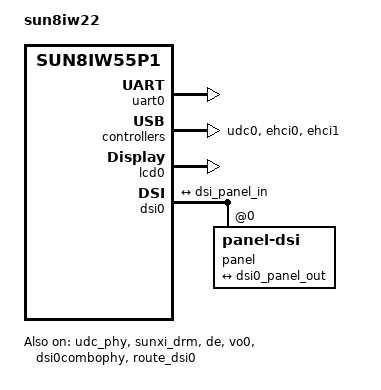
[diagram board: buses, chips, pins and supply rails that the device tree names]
// SPDX-License-Identifier: (GPL-2.0+ or MIT)
/*
 * Allwinner Technology CO., Ltd. sun8iw21p1 platform
 *
 * modify base on juno.dts
 */

/dts-v1/;

#include "sun8iw22p1.dtsi"

/ {
	model = "sun8iw22";
	compatible = "allwinner,t153", "arm,sun8iw55p1";

	aliases {
		serial0 = &uart0;
	};

	chosen {
		stdout-path = "serial0:115200n8";
	};

	firmware {
		optee {
			shm_base = <0x42500000>;	/* shm must between 0x42500000-->0x4290000 */
			shm_size = <0x00400000>;
		//	optee_base = <0x42900000>;
		//	optee_size = <0x00100000>;
			ta_ram_base = <0x42A00000>;	/* ta  must between 0x42A00000-->0x43300000 */
			ta_ram_size = <0x00900000>;
		};
	};
};

&pio {
	gmac0_pins_default: gmac0@0 {
		pins = "PJ0", "PJ1", "PJ2", "PJ3", "PJ4", "PJ5", "PJ6", "PJ7",
			"PJ8", "PJ9", "PJ10", "PJ11", "PJ12", "PJ13", "PJ14", "PJ15";
		function = "rgmii0_pj";
		drive-strength = <40>;
		bias-pull-up;
	};
	gmac1_pins_default: gmac1@0 {
		pins = "PG0", "PG1", "PG2", "PG3", "PG4", "PG5", "PG6", "PG7",
			"PG8", "PG9", "PG10", "PG11", "PG12", "PG13", "PG14", "PG15";
		function = "rgmii1";
		drive-strength = <40>;
		bias-pull-up;
	};
};

&mmc0 {
	/*cd-gpios = <&pio 5 6 GPIO_ACTIVE_LOW>;*/	/* PF6 */
	bus-width = <4>;
	status = "disabled";
};

&mmc2 {
	bus-width = <8>;
	cap-mmc-highspeed;
	mmc-ddr-1_8v;
	max-frequency = <50000000>;
	sdc_ex_dly_used = <2>;
	sdc_tm4_hs200_max_freq = <200>;
	sdc_tm4_hs400_max_freq = <150>;
	sdc_tm4_win_th = <0x7>;
	sdc_io_1v8 = <0x1>;
	status = "disabled";
};

&uart0 {
	pinctrl-names = "default";
	pinctrl-0 = <&uart0_ph_pins>;
	status = "okay";
};

&platform {
	eraseflag = <1>;
	debug_mode = <4>;
};

&target {
	boot_clock = <1008>;	/*CPU boot frequency, Unit: MHz*/
	auto_fel = <0>;		/*1:support auto fel; 0:not support auto fel*/
	burn_key = <1>;		/*1:support burn key; 0:not support burn key*/
};

&udc0 {
	status = "okay";
};

&udc_phy {
	status = "okay";
};

&ehci0 {
	//vbus-gpio = <&pio 1 2 GPIO_ACTIVE_HIGH>;  // GPIO : PB2
	status = "okay";
};

&ehci1 {
	//vbus-gpio = <&pio 1 3 GPIO_ACTIVE_HIGH>;  // GPIO : PB3
	status = "okay";
};

&gmac0 {
	phy-mode = "rgmii";
	max-speed = <1000>;
	pinctrl-names = "default";
	pinctrl-0 = <&gmac0_pins_default>;
	aw,soc-phy-clk-en;
	tx-delay = <9>;
	rx-delay = <6>;
	snps,reset-gpio = <&pio 4 0 GPIO_ACTIVE_HIGH>; 	// PE0
	snps,reset-delays-us = <0 10000 30000>;
	status = "disabled";
};

&gmac1 {
	phy-mode = "rgmii";
	max-speed = <1000>;
	pinctrl-names = "default";
	pinctrl-0 = <&gmac1_pins_default>;
	aw,soc-phy-clk-en;
	tx-delay = <9>;
	rx-delay = <5>;
	snps,reset-gpio = <&pio 4 9 GPIO_ACTIVE_HIGH>; // PE9
	snps,reset-delays-us = <0 10000 30000>;
	status = "disabled";
};

&sunxi_drm {
	status = "okay";
};

&de {
	chn_cfg_mode = <3>;
	status = "okay";
};

&vo0 {
	status = "okay";
};

&lcd0 {
	status = "okay";
};

&dsi0 {
	status = "okay";
	pinctrl-0 = <&dsi0_4lane_pins_a>;
	pinctrl-1 = <&dsi0_4lane_pins_b>;
	pinctrl-names = "active","sleep";
	#address-cells = <1>;
	#size-cells = <0>;

	panel: panel@0 {
		compatible = "panel-dsi";
		status = "okay";
		reg = <0>;
//		power-delay-ms = <10>;
//		power0-supply = <&reg_axp2202_dcdc4>;
//		power1-supply = <&reg_axp2202_cldo1>;

		//hdmi enabled by lt8912 driver
		//enable0-gpios = <&pio PB 6 GPIO_ACTIVE_HIGH>; //reset
		//reset-gpios = <&pio PI 12 GPIO_ACTIVE_HIGH>;
		reset-num = <2>;
		reset-delay-ms = <20>;
//		backlight = <&backlight0>;
		dsi,flags = <(MIPI_DSI_MODE_VIDEO)>;
		dsi,lanes = <4>;
		dsi,format = <0>;

		panel-init-sequence = [];
		panel-exit-sequence = [];

		display-timings {
			native-mode = <&timing0>;
			timing0: timing0 {
			        clock-frequency = <148500000>;
                                hback-porch = <148>;
                                hactive = <1920>;
                                hfront-porch = <88>;
                                hsync-len = <44>;
                                vback-porch = <36>;
                                vactive = <1080>;
                                vfront-porch = <4>;
                                vsync-len = <5>;
			};
		};

		port {
			dsi_panel_in: endpoint {
				remote-endpoint = <&dsi0_panel_out>;
			};
		};
	};
	ports {
		port@1 {
			dsi0_panel_out: endpoint@0 {
				remote-endpoint = <&dsi_panel_in>;
			};
		};
	};
};

&dsi0combophy {
	status = "okay";
};


&route_dsi0 {
        status = "okay";
	logo,uboot = "bootlogo.bmp";
};
